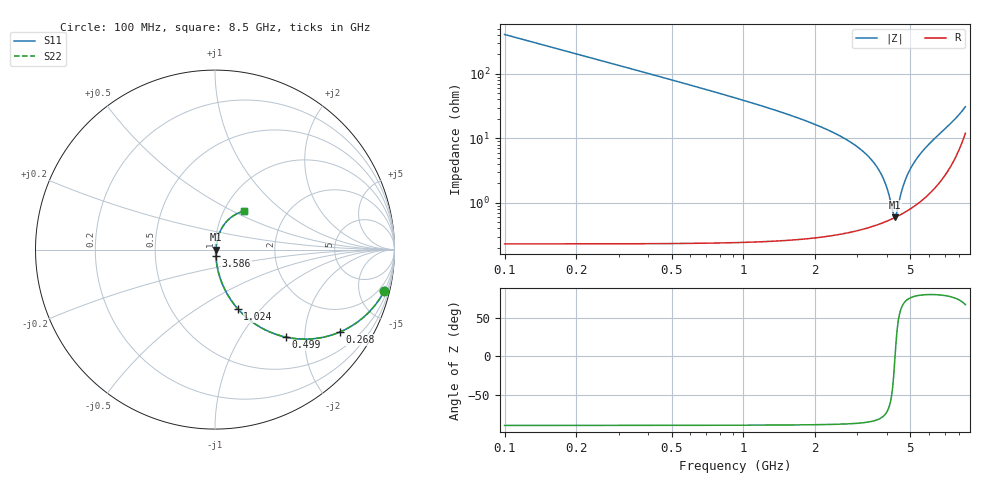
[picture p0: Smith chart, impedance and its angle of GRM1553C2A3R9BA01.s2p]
!Murata Part Number: GRM1553C2A3R9BA01
!These Parameters are Measured in Series Mode Connection
!Data Generated on Mar 30, 2021
!  o--ll--o
!Port1  Port2
!  o------o
!Operation Temp=25[degC], DC Bias Voltage=0[V]
!Freq. Start=100[MHz] Stop=9[GHz] 401[Steps]
# Hz S RI R 50
!Freq.(Hz) S11(Real) S11(Imag) S21(Real) S21(Imag) S12(Real) S12(Imag) S22(Real) S22(Imag)
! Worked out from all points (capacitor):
!   401 points, 100 MHz to 8.5 GHz, reference 50 ohm
!   read as one part in series: C = 3.9 pF near 142 MHz
!   lowest |Z| = 592 mohm at 4.3 GHz (marker M1)
!   series resonance near 4.314 GHz, so ESL is about 350 pH
!   S11 on the Smith chart (normalised r, x): 100 MHz: 1.00, -8.16; 268 MHz: 1.00, -3.03; 499 MHz: 1.00, -1.62; 1.024 GHz: 1.00, -0.76; 3.586 GHz: 1.01, -0.08; 8.5 GHz: 1.24, +0.57
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1e8  0.9432 -0.2312  0.0568 0.2312  0.0568 0.2312  0.9432 -0.2312
1.84e8  0.8303 -0.3748  0.1697 0.3748  0.1697 0.3748  0.8303 -0.3748
2.68e8  0.6969 -0.4588  0.3031 0.4588  0.3031 0.4588  0.6969 -0.4588
3.73e8  0.5414 -0.4972  0.4586 0.4972  0.4586 0.4972  0.5414 -0.4972
4.99e8  0.3952 -0.4875  0.6048 0.4875  0.6048 0.4875  0.3952 -0.4875
7.3e8  0.2296 -0.4184  0.7704 0.4184  0.7704 0.4184  0.2296 -0.4184
1.024e9  0.1266 -0.3294  0.8734 0.3294  0.8734 0.3294  0.1266 -0.3294
1.507e9  0.0569 -0.2262  0.9431 0.2262  0.9431 0.2262  0.0569 -0.2262
2.914e9  0.00982 -0.0786  0.9902 0.0786  0.9902 0.0786  0.00982 -0.0786
3.586e9  0.00586 -0.0374  0.9941 0.0374  0.9941 0.0374  0.00586 -0.0374
3.775e9  0.00551 -0.0271  0.9945 0.0271  0.9945 0.0271  0.00551 -0.0271
3.943e9  0.00542 -0.0184  0.9946 0.0184  0.9946 0.0184  0.00542 -0.0184
4.069e9  0.00547 -0.012  0.9945 0.012  0.9945 0.012  0.00547 -0.012
4.237e9  0.00571 -0.00374  0.9943 0.00374  0.9943 0.00374  0.00571 -0.00374
4.3e9  0.00585 -0.000679  0.9942 0.000679  0.9942 0.000679  0.00585 -0.000679
4.363e9  0.00601 0.00235  0.994 -0.00235  0.994 -0.00235  0.00601 0.00235
4.636e9  0.00699 0.0153  0.993 -0.0153  0.993 -0.0153  0.00699 0.0153
4.867e9  0.00818 0.026  0.9918 -0.026  0.9918 -0.026  0.00818 0.026
5.224e9  0.0107 0.0423  0.9893 -0.0423  0.9893 -0.0423  0.0107 0.0423
5.707e9  0.0157 0.0645  0.9843 -0.0645  0.9843 -0.0645  0.0157 0.0645
7.114e9  0.0481 0.1358  0.9519 -0.1358  0.9519 -0.1358  0.0481 0.1358
8.5e9  0.1612 0.2134  0.8388 -0.2134  0.8388 -0.2134  0.1612 0.2134
